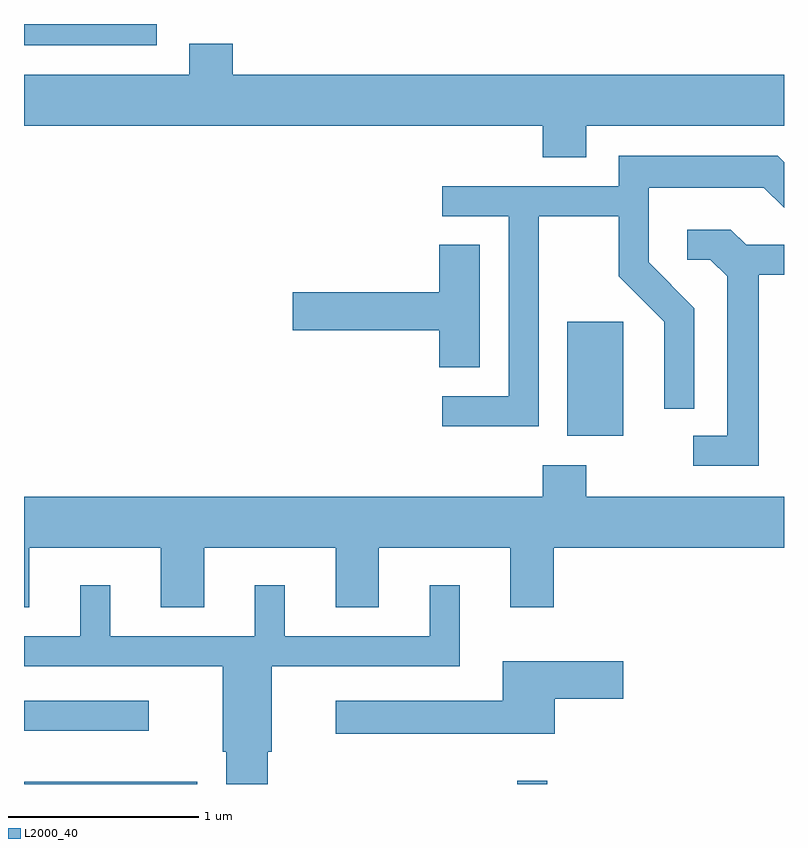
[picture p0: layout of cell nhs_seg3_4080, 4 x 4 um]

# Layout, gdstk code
import gdstk
lib = gdstk.Library(unit=1e-6, precision=1e-09)
def R(c, l, rs):  # rectangles x0, y0, x1, y1
    for r in rs: c.add(gdstk.rectangle(r[:2], r[2:], *l))
def P(c, l, *ps):  # polygons
    for p in ps: c.add(gdstk.Polygon(p, *l))
L2000_40 = (2000, 40)

nhs_seg3_4080 = lib.new_cell('nhs_seg3_4080')
R(nhs_seg3_4080, L2000_40, [(305.611,1115.892,306.524,1115.904), (308.206,1115.892,308.364,1115.908), (305.611,1116.171,306.268,1116.329), (308.471,1117.726,308.764,1118.324), (305.611,1119.781,306.309,1119.892)])
P(nhs_seg3_4080, L2000_40, [(308.569,1119.356),(309.611,1119.356),(309.611,1119.624),(306.709,1119.624),(306.709,1119.789),(306.481,1119.789),(306.481,1119.624),(305.611,1119.624),(305.611,1119.356),(308.341,1119.356),(308.341,1119.191),(308.569,1119.191)],
  [(308.319,1118.881),(308.741,1118.881),(308.741,1118.564),(308.981,1118.324),(308.981,1117.868),(309.139,1117.868),(309.139,1118.397),(308.899,1118.637),(308.899,1119.031),(309.504,1119.031),(309.611,1118.924),(309.611,1119.165),(309.577,1119.199),(308.741,1119.199),(308.741,1119.039),(307.813,1119.039),(307.813,1118.881),(308.161,1118.881),(308.161,1117.934),(307.813,1117.934),(307.813,1117.776),(308.319,1117.776)],
  [(309.479,1118.571),(309.611,1118.571),(309.611,1118.729),(309.412,1118.729),(309.332,1118.809),(309.103,1118.809),(309.103,1118.651),(309.224,1118.651),(309.311,1118.564),(309.311,1117.724),(309.133,1117.724),(309.133,1117.566),(309.479,1117.566)],
  [(308.009,1118.729),(307.796,1118.729),(307.796,1118.479),(307.026,1118.479),(307.026,1118.281),(307.796,1118.281),(307.796,1118.086),(308.009,1118.086)],
  [(305.639,1117.136),(306.331,1117.136),(306.331,1116.821),(306.559,1116.821),(306.559,1117.136),(307.251,1117.136),(307.251,1116.821),(307.479,1116.821),(307.479,1117.136),(308.171,1117.136),(308.171,1116.821),(308.399,1116.821),(308.399,1117.136),(309.611,1117.136),(309.611,1117.404),(308.569,1117.404),(308.569,1117.569),(308.341,1117.569),(308.341,1117.404),(305.611,1117.404),(305.611,1116.821),(305.639,1116.821)],
  [(306.894,1116.061),(306.914,1116.061),(306.914,1116.511),(307.904,1116.511),(307.904,1116.938),(307.746,1116.938),(307.746,1116.669),(306.984,1116.669),(306.984,1116.938),(306.826,1116.938),(306.826,1116.669),(306.064,1116.669),(306.064,1116.938),(305.906,1116.938),(305.906,1116.669),(305.611,1116.669),(305.611,1116.511),(306.656,1116.511),(306.656,1116.061),(306.676,1116.061),(306.676,1115.892),(306.894,1115.892)],
  [(308.404,1116.341),(308.764,1116.341),(308.764,1116.539),(308.131,1116.539),(308.131,1116.329),(307.251,1116.329),(307.251,1116.156),(308.404,1116.156)])

lib.write_gds('nhs_seg3_4080.gds')
